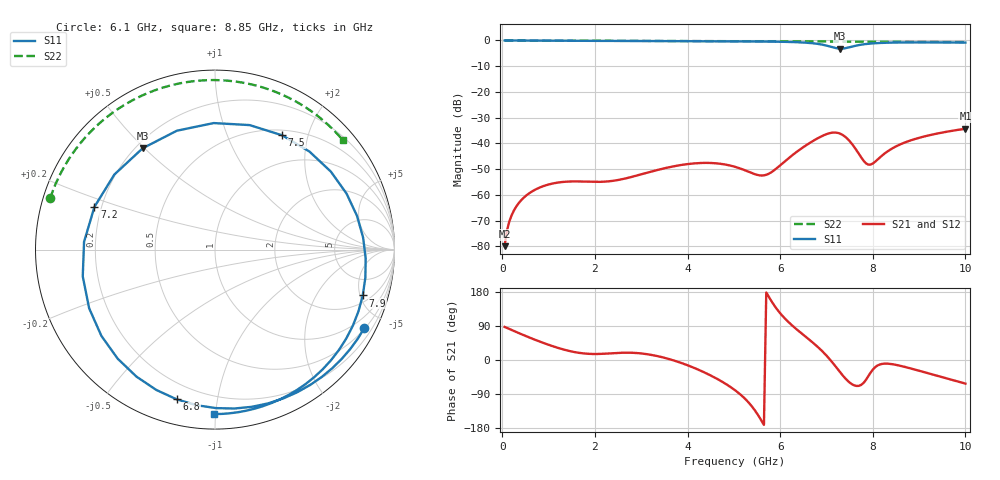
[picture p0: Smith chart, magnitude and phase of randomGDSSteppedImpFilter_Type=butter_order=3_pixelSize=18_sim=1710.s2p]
! freq	dB(S11)	phase(S11)	dB(S12)	phase(S12)
!  dB(S21)	phase(S21)	dB(S22)	phase(S22)
!S-par simulation data
#  GHz  S  DB  R 50
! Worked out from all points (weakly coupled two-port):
!   200 points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, 50 MHz to 10 GHz, reference 50 ohm
!   highest |S21| = -34.33 dB at 10 GHz (marker M1); lowest = -80.0 dB at 50 MHz (marker M2)
!   lowest |S11| = -3.2 dB at 7.3 GHz (marker M3), VSWR 5.53, Z = 11.3 + j24.7 ohm
!   |S11| at or under -10 dB: nowhere
!   |S22| runs from -0.6 to 0.0 dB; largest |S21 - S12| = 0
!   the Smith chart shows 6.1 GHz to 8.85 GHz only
!   S11 on the Smith chart (normalised r, x): 6.1 GHz: 0.53, -3.99; 6.8 GHz: 0.12, -0.77; 7.2 GHz: 0.17, +0.17; 7.5 GHz: 0.57, +1.60; 7.9 GHz: 2.67, -5.30; 8.85 GHz: 0.09, -0.99
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0.05  -0.00 -3.8  -79.96 87.3  -79.96 87.3  -0.00 -1.7
0.2  -0.02 -15.1  -68.01 79.3  -68.01 79.3  -0.01 -6.6
0.5  -0.05 -37.2  -60.52 63.6  -60.52 63.6  -0.02 -16.4
1.1  -0.10 -79.0  -55.56 35.9  -55.56 35.9  -0.05 -35.8
1.75  -0.13 -119.7  -54.85 17.4  -54.85 17.4  -0.07 -56.5
2.6  -0.17 -167.4  -53.88 19.2  -53.88 19.2  -0.11 -83.0
3.4  -0.21 149.4  -50.12 8.9  -50.12 8.9  -0.14 -107.7
4.3  -0.27 97.9  -47.62 -29.2  -47.62 -29.2  -0.19 -135.8
5.05  -0.33 50.0  -49.25 -82.0  -49.25 -82.0  -0.25 -160.1
5.65  -0.42 7.6  -52.44 -171.2  -52.44 -171.2  -0.30 179.2
6.1  -0.54 -27.7  -47.01 109.8  -47.01 109.8  -0.34 162.7
6.7  -1.08 -89.6  -39.16 46.4  -39.16 46.4  -0.40 139.0
6.8  -1.30 -104.3  -38.12 35.8  -38.12 35.8  -0.41 134.9
7.05  -2.23 -155.0  -36.12 4.9  -36.12 4.9  -0.43 124.3
7.2  -2.94 160.5  -35.80 -17.4  -35.80 -17.4  -0.44 117.7
7.3  -3.18 125.6  -36.26 -33.0  -36.26 -33.0  -0.45 113.3
7.5  -2.63 59.5  -39.12 -59.5  -39.12 -59.5  -0.47 104.3
7.7  -1.80 13.3  -44.07 -68.2  -44.07 -68.2  -0.49 95.1
7.9  -1.29 -17.2  -48.25 -43.5  -48.25 -43.5  -0.50 85.8
8.35  -0.86 -59.7  -42.74 -9.9  -42.74 -9.9  -0.53 64.4
8.85  -0.76 -90.2  -38.65 -23.3  -38.65 -23.3  -0.56 40.6
10  -0.83 -140.5  -34.33 -62.3  -34.33 -62.3  -0.64 -10.1
